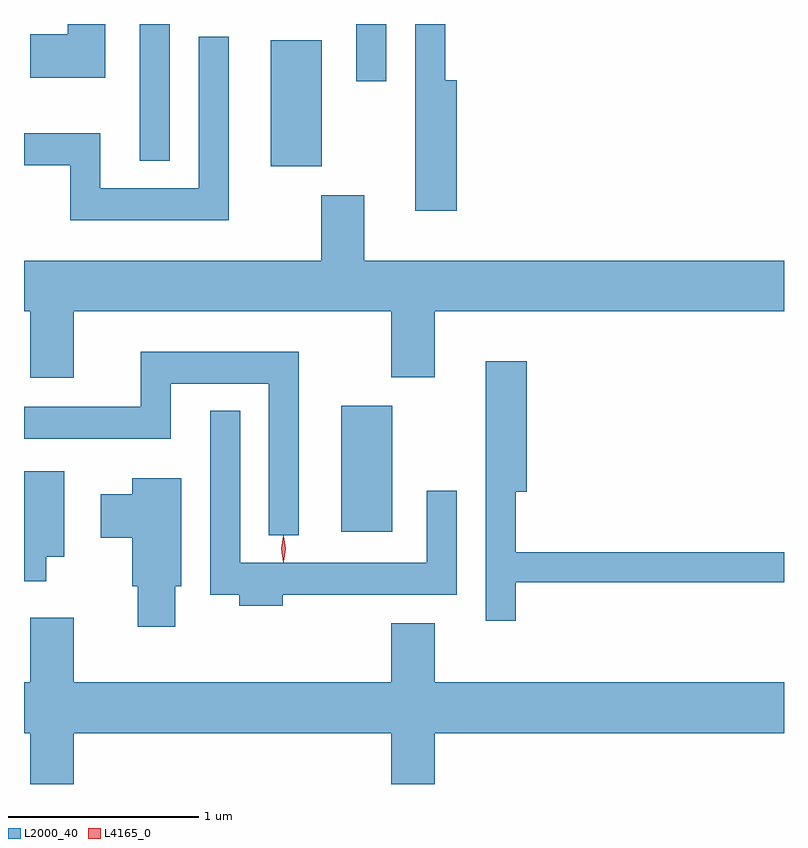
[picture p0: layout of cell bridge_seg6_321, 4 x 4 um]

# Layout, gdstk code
import gdstk
lib = gdstk.Library(unit=1e-6, precision=1e-09)
def R(c, l, rs):  # rectangles x0, y0, x1, y1
    for r in rs: c.add(gdstk.rectangle(r[:2], r[2:], *l))
def P(c, l, *ps):  # polygons
    for p in ps: c.add(gdstk.Polygon(p, *l))
L2000_40 = (2000, 40)
L4165_0 = (4165, 0)

bridge_seg6_321 = lib.new_cell('bridge_seg6_321')
R(bridge_seg6_321, L2000_40, [(1291.216,1553.316,1291.484,1553.979), (1290.846,1555.241,1291.114,1555.904), (1290.156,1555.268,1290.314,1555.989), (1291.296,1555.688,1291.454,1555.989)])
P(bridge_seg6_321, L2000_40, [(1291.824,1555.694),(1291.764,1555.694),(1291.764,1555.989),(1291.606,1555.989),(1291.606,1555.006),(1291.824,1555.006)],
  [(1289.974,1555.989),(1289.776,1555.989),(1289.776,1555.934),(1289.581,1555.934),(1289.581,1555.706),(1289.974,1555.706)],
  [(1290.624,1555.923),(1290.466,1555.923),(1290.466,1555.124),(1289.949,1555.124),(1289.949,1555.414),(1289.547,1555.414),(1289.547,1555.246),(1289.791,1555.246),(1289.791,1554.956),(1290.624,1554.956)],
  [(1289.809,1554.476),(1291.481,1554.476),(1291.481,1554.131),(1291.709,1554.131),(1291.709,1554.476),(1293.547,1554.476),(1293.547,1554.744),(1291.339,1554.744),(1291.339,1555.089),(1291.111,1555.089),(1291.111,1554.744),(1289.547,1554.744),(1289.547,1554.476),(1289.581,1554.476),(1289.581,1554.126),(1289.809,1554.126)],
  [(1290.994,1554.264),(1290.161,1554.264),(1290.161,1553.974),(1289.547,1553.974),(1289.547,1553.806),(1290.319,1553.806),(1290.319,1554.096),(1290.836,1554.096),(1290.836,1553.298),(1290.994,1553.298)],
  [(1292.134,1553.051),(1293.547,1553.051),(1293.547,1553.209),(1292.134,1553.209),(1292.134,1553.526),(1292.194,1553.526),(1292.194,1554.214),(1291.976,1554.214),(1291.976,1552.848),(1292.134,1552.848)],
  [(1290.909,1552.986),(1291.824,1552.986),(1291.824,1553.533),(1291.666,1553.533),(1291.666,1553.154),(1290.684,1553.154),(1290.684,1553.953),(1290.526,1553.953),(1290.526,1552.986),(1290.681,1552.986),(1290.681,1552.926),(1290.909,1552.926)],
  [(1289.664,1553.186),(1289.759,1553.186),(1289.759,1553.634),(1289.547,1553.634),(1289.547,1553.056),(1289.664,1553.056)],
  [(1290.344,1553.031),(1290.374,1553.031),(1290.374,1553.599),(1290.116,1553.599),(1290.116,1553.514),(1289.951,1553.514),(1289.951,1553.286),(1290.116,1553.286),(1290.116,1553.031),(1290.146,1553.031),(1290.146,1552.816),(1290.344,1552.816)],
  [(1289.809,1552.256),(1291.481,1552.256),(1291.481,1551.989),(1291.709,1551.989),(1291.709,1552.256),(1293.547,1552.256),(1293.547,1552.524),(1291.709,1552.524),(1291.709,1552.834),(1291.481,1552.834),(1291.481,1552.524),(1289.809,1552.524),(1289.809,1552.864),(1289.581,1552.864),(1289.581,1552.524),(1289.547,1552.524),(1289.547,1552.256),(1289.581,1552.256),(1289.581,1551.989),(1289.809,1551.989)])
P(bridge_seg6_321, L4165_0, [(1290.915,1553.159),(1290.914,1553.16),(1290.905,1553.226),(1290.914,1553.292),(1290.914,1553.293),(1290.915,1553.292),(1290.924,1553.226),(1290.915,1553.16)],
  [(1290.912,1553.157),(1290.912,1553.157),(1290.902,1553.227),(1290.912,1553.296),(1290.912,1553.296),(1290.913,1553.296),(1290.922,1553.227),(1290.913,1553.157)])

lib.write_gds('bridge_seg6_321.gds')
